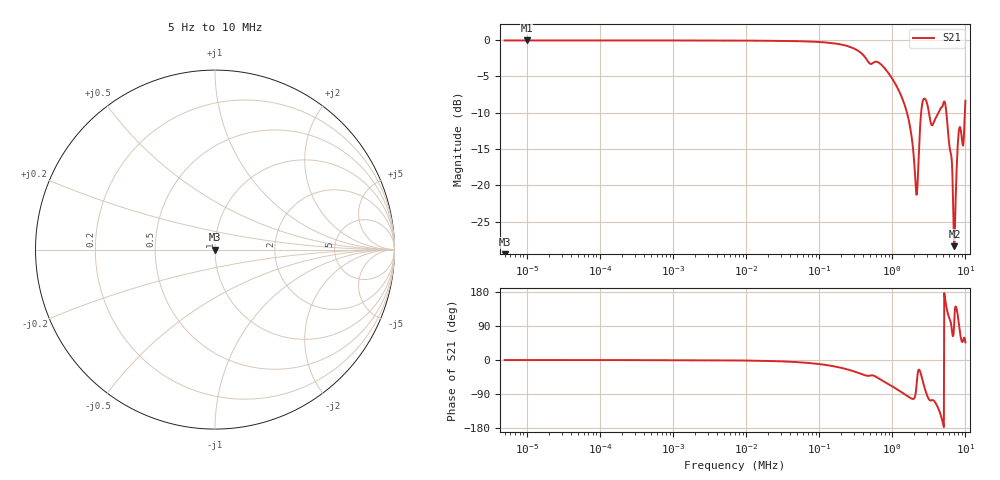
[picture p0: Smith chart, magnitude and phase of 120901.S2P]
!Agilent Technologies,E5061B,MY49204007,A.02.12
!Date: Fri Sep 12 10:05:21 2025
!Data & Calibration Information:
!Freq	S11:SOLT2(OFF)	S21:SOLT2(OFF)	S12:SOLT2(OFF)	S22:SOLT2(OFF)
# Hz S dB R 50
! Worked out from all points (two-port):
!   1041 points, 5 Hz to 10 MHz, reference 50 ohm
!   highest |S21| = -0.04 dB at 9.964 Hz (marker M1); lowest = -28.4 dB at 7.081 MHz (marker M2)
!   |S21| within 3 dB of the highest: start of sweep to 474.1 kHz; 564.7 kHz to 637.5 kHz (72.72 kHz wide, 12.1 % of centre)
!   lowest |S11| = - dB at 5 Hz (marker M3), VSWR 1.00, Z = 50 + j0 ohm
!   |S11| at or under -10 dB: start of sweep to end of sweep
!   S12 and S22 are empty: the file has one direction only
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5  -200.00 0.0  -0.04 -0.2  -200.00 0.0  -200.00 0.0
9.964  -200.00 0.0  -0.04 -0.2  -200.00 0.0  -200.00 0.0
56.522  -200.00 0.0  -0.04 -0.2  -200.00 0.0  -200.00 0.0
632.897  -200.00 0.0  -0.04 -0.3  -200.00 0.0  -200.00 0.0
7154.49  -200.00 0.0  -0.06 -1.1  -200.00 0.0  -200.00 0.0
80111.67  -200.00 0.0  -0.21 -8.7  -200.00 0.0  -200.00 0.0
254626.5  -200.00 0.0  -0.87 -25.9  -200.00 0.0  -200.00 0.0
893075.1  -200.00 0.0  -4.58 -64.2  -200.00 0.0  -200.00 0.0
1577558  -200.00 0.0  -9.88 -94.2  -200.00 0.0  -200.00 0.0
2108729  -200.00 0.0  -20.61 -82.2  -200.00 0.0  -200.00 0.0
2240026  -200.00 0.0  -18.76 -32.8  -200.00 0.0  -200.00 0.0
2436971  -200.00 0.0  -10.96 -33.6  -200.00 0.0  -200.00 0.0
2666740  -200.00 0.0  -8.16 -62.8  -200.00 0.0  -200.00 0.0
3089803  -200.00 0.0  -9.35 -99.6  -200.00 0.0  -200.00 0.0
3499982  -200.00 0.0  -11.74 -105.7  -200.00 0.0  -200.00 0.0
4315301  -200.00 0.0  -9.97 -130.2  -200.00 0.0  -200.00 0.0
5137346  -200.00 0.0  -8.45 176.8  -200.00 0.0  -200.00 0.0
5860704  -200.00 0.0  -13.27 117.2  -200.00 0.0  -200.00 0.0
7080901  -200.00 0.0  -28.39 111.5  -200.00 0.0  -200.00 0.0
8198050  -200.00 0.0  -12.28 91.2  -200.00 0.0  -200.00 0.0
9159090  -200.00 0.0  -14.39 47.9  -200.00 0.0  -200.00 0.0
1e7  -200.00 0.0  -8.35 46.3  -200.00 0.0  -200.00 0.0
